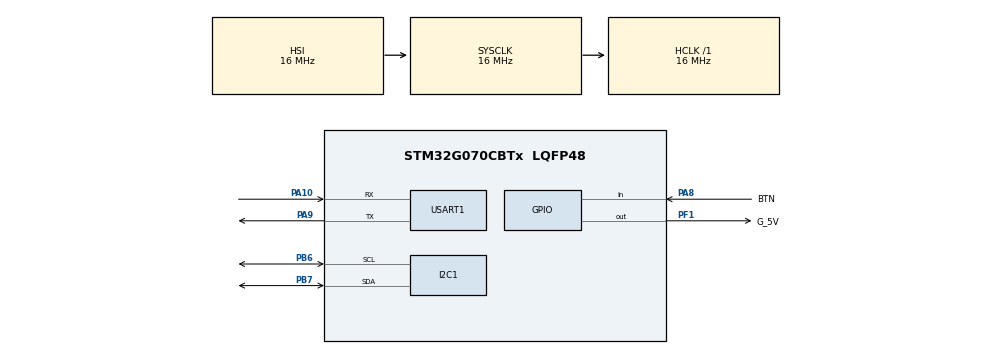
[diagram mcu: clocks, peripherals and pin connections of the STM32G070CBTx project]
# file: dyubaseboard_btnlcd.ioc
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I2C1.Timing=0x00503D58
Mcu.Family=STM32G0
Mcu.Name=STM32G070CBTx
Mcu.Package=LQFP48
PA10\ [PA12].Mode=Asynchronous
PA10\ [PA12].Signal=USART1_RX
PA8.GPIO_Label=BTN
PA8.Signal=GPIO_Input
PA9\ [PA11].Mode=Asynchronous
PA9\ [PA11].Signal=USART1_TX
PB6.Mode=I2C
PB6.Signal=I2C1_SCL
PB7.Mode=I2C
PB7.Signal=I2C1_SDA
PF1-OSC_OUT\ (PF1).GPIO_Label=G_5V
PF1-OSC_OUT\ (PF1).Signal=GPIO_Output
ProjectManager.HeapSize=0x200
ProjectManager.StackSize=0x400
ProjectManager.TargetToolchain=STM32CubeIDE
RCC.AHBFreq_Value=16000000
RCC.CortexFreq_Value=16000000
RCC.EXTERNAL_CLOCK_VALUE=48000
RCC.HCLKFreq_Value=16000000
RCC.HSE_VALUE=8000000
RCC.HSI_VALUE=16000000
RCC.SYSCLKFreq_VALUE=16000000
RCC.VCOOutputFreq_Value=128000000
USART1.VirtualMode-Asynchronous=VM_ASYNC
VP_SYS_VS_PINREMAP.Mode=PINREMAP
VP_SYS_VS_PINREMAP_10_12.Mode=PINREMAP_10_12
board=custom

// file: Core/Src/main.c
/* USER CODE BEGIN Header */
/**
  ******************************************************************************
  * @file           : main.c
  * @brief          : Main program body
  ******************************************************************************
  * @attention
  *
  * Copyright (c) 2026 STMicroelectronics.
  * All rights reserved.
  *
  * This software is licensed under terms that can be found in the LICENSE file
  * in the root directory of this software component.
  * If no LICENSE file comes with this software, it is provided AS-IS.
  *
  ******************************************************************************
  */
/* USER CODE END Header */
#include "main.h"

/* USER CODE BEGIN Includes */
#include "liquidcrystal_i2c.h"
/* USER CODE END Includes */

I2C_HandleTypeDef hi2c1;

UART_HandleTypeDef huart1;

void SystemClock_Config(void);
static void MX_GPIO_Init(void);
static void MX_USART1_UART_Init(void);
static void MX_I2C1_Init(void);

int main(void)
{

  /* MCU Configuration--------------------------------------------------------*/

  /* Reset of all peripherals, Initializes the Flash interface and the Systick. */
  HAL_Init();

  /* Configure the system clock */
  SystemClock_Config();

  /* Initialize all configured peripherals */
  MX_GPIO_Init();
  MX_USART1_UART_Init();
  MX_I2C1_Init();
  /* USER CODE BEGIN 2 */
  HAL_GPIO_WritePin(GPIOA, GPIO_PIN_5, GPIO_PIN_RESET);
  /* USER CODE END 2 */

  /* Infinite loop */
  /* USER CODE BEGIN WHILE */
  while (1)
  {
	  if (HAL_GPIO_ReadPin(BTN_GPIO_Port, BTN_Pin) == GPIO_PIN_SET)
	  	  {

	  		    HD44780_Init(2);
	  		    HD44780_Clear();
	  		    HD44780_Backlight();
	  		    HD44780_SetCursor(0,0);
	  		    HD44780_PrintStr("BUTTON");
	  		    HD44780_SetCursor(0,1);
	  		    HD44780_PrintStr("NOT PRESSED");
	  	  }
	  	  else
	  		 {

	  				  HD44780_Init(2);
	  				 		    HD44780_Clear();
	  				 		    HD44780_Backlight();
	  				 		    HD44780_SetCursor(0,0);
	  				 		    HD44780_PrintStr("BUTTON");
	  				 		    HD44780_SetCursor(0,1);
	  				 		    HD44780_PrintStr("PRESSED");
	  			  }
    /* USER CODE END WHILE */

  }
}

void SystemClock_Config(void)
{
  RCC_OscInitTypeDef RCC_OscInitStruct = {0};
  RCC_ClkInitTypeDef RCC_ClkInitStruct = {0};

  /** Configure the main internal regulator output voltage
  */
  HAL_PWREx_ControlVoltageScaling(PWR_REGULATOR_VOLTAGE_SCALE1);

  /** Initializes the RCC Oscillators according to the specified parameters
  * in the RCC_OscInitTypeDef structure.
  */
  RCC_OscInitStruct.OscillatorType = RCC_OSCILLATORTYPE_HSI;
  RCC_OscInitStruct.HSIState = RCC_HSI_ON;
  RCC_OscInitStruct.HSIDiv = RCC_HSI_DIV1;
  RCC_OscInitStruct.HSICalibrationValue = RCC_HSICALIBRATION_DEFAULT;
  RCC_OscInitStruct.PLL.PLLState = RCC_PLL_NONE;
  if (HAL_RCC_OscConfig(&RCC_OscInitStruct) != HAL_OK)
  {
    Error_Handler();
  }

  /** Initializes the CPU, AHB and APB buses clocks
  */
  RCC_ClkInitStruct.ClockType = RCC_CLOCKTYPE_HCLK|RCC_CLOCKTYPE_SYSCLK
                              |RCC_CLOCKTYPE_PCLK1;
  RCC_ClkInitStruct.SYSCLKSource = RCC_SYSCLKSOURCE_HSI;
  RCC_ClkInitStruct.AHBCLKDivider = RCC_SYSCLK_DIV1;
  RCC_ClkInitStruct.APB1CLKDivider = RCC_HCLK_DIV1;

  if (HAL_RCC_ClockConfig(&RCC_ClkInitStruct, FLASH_LATENCY_0) != HAL_OK)
  {
    Error_Handler();
  }
}

static void MX_I2C1_Init(void)
{

  hi2c1.Instance = I2C1;
  hi2c1.Init.Timing = 0x00503D58;
  hi2c1.Init.OwnAddress1 = 0;
  hi2c1.Init.AddressingMode = I2C_ADDRESSINGMODE_7BIT;
  hi2c1.Init.DualAddressMode = I2C_DUALADDRESS_DISABLE;
  hi2c1.Init.OwnAddress2 = 0;
  hi2c1.Init.OwnAddress2Masks = I2C_OA2_NOMASK;
  hi2c1.Init.GeneralCallMode = I2C_GENERALCALL_DISABLE;
  hi2c1.Init.NoStretchMode = I2C_NOSTRETCH_DISABLE;
  if (HAL_I2C_Init(&hi2c1) != HAL_OK)
  {
    Error_Handler();
  }

  /** Configure Analogue filter
  */
  if (HAL_I2CEx_ConfigAnalogFilter(&hi2c1, I2C_ANALOGFILTER_ENABLE) != HAL_OK)
  {
    Error_Handler();
  }

  /** Configure Digital filter
  */
  if (HAL_I2CEx_ConfigDigitalFilter(&hi2c1, 0) != HAL_OK)
  {
    Error_Handler();
  }

}

static void MX_USART1_UART_Init(void)
{

  huart1.Instance = USART1;
  huart1.Init.BaudRate = 115200;
  huart1.Init.WordLength = UART_WORDLENGTH_8B;
  huart1.Init.StopBits = UART_STOPBITS_1;
  huart1.Init.Parity = UART_PARITY_NONE;
  huart1.Init.Mode = UART_MODE_TX_RX;
  huart1.Init.HwFlowCtl = UART_HWCONTROL_NONE;
  huart1.Init.OverSampling = UART_OVERSAMPLING_16;
  huart1.Init.OneBitSampling = UART_ONE_BIT_SAMPLE_DISABLE;
  huart1.Init.ClockPrescaler = UART_PRESCALER_DIV1;
  huart1.AdvancedInit.AdvFeatureInit = UART_ADVFEATURE_NO_INIT;
  if (HAL_UART_Init(&huart1) != HAL_OK)
  {
    Error_Handler();
  }
  if (HAL_UARTEx_SetTxFifoThreshold(&huart1, UART_TXFIFO_THRESHOLD_1_8) != HAL_OK)
  {
    Error_Handler();
  }
  if (HAL_UARTEx_SetRxFifoThreshold(&huart1, UART_RXFIFO_THRESHOLD_1_8) != HAL_OK)
  {
    Error_Handler();
  }
  if (HAL_UARTEx_DisableFifoMode(&huart1) != HAL_OK)
  {
    Error_Handler();
  }

}

static void MX_GPIO_Init(void)
{
  GPIO_InitTypeDef GPIO_InitStruct = {0};

  /* GPIO Ports Clock Enable */
  __HAL_RCC_GPIOF_CLK_ENABLE();
  __HAL_RCC_GPIOA_CLK_ENABLE();
  __HAL_RCC_GPIOB_CLK_ENABLE();

  /*Configure GPIO pin Output Level */
  HAL_GPIO_WritePin(G_5V_GPIO_Port, G_5V_Pin, GPIO_PIN_RESET);

  /*Configure GPIO pin : G_5V_Pin */
  GPIO_InitStruct.Pin = G_5V_Pin;
  GPIO_InitStruct.Mode = GPIO_MODE_OUTPUT_PP;
  GPIO_InitStruct.Pull = GPIO_NOPULL;
  GPIO_InitStruct.Speed = GPIO_SPEED_FREQ_LOW;
  HAL_GPIO_Init(G_5V_GPIO_Port, &GPIO_InitStruct);

  /*Configure GPIO pin : BTN_Pin */
  GPIO_InitStruct.Pin = BTN_Pin;
  GPIO_InitStruct.Mode = GPIO_MODE_INPUT;
  GPIO_InitStruct.Pull = GPIO_NOPULL;
  HAL_GPIO_Init(BTN_GPIO_Port, &GPIO_InitStruct);

}

void Error_Handler(void)
{
  __disable_irq();
  while (1)
  {
  }
}
